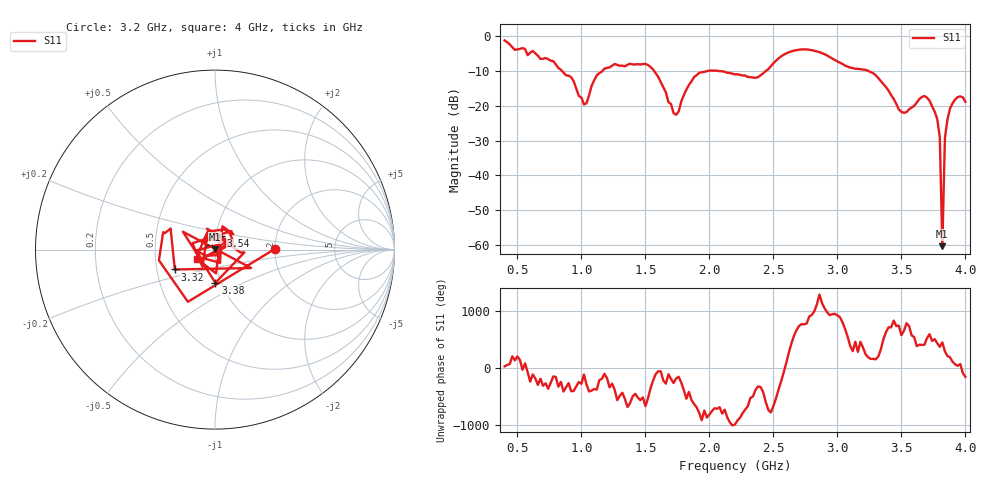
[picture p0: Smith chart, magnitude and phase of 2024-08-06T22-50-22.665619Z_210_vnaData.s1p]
!Created with skrf (http://scikit-rf.org).
# Hz S RI R 50.0
!freq ReS11 ImS11
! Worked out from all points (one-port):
!   181 points, 400 MHz to 4 GHz, reference 50 ohm
!   lowest |S11| = -60.4 dB at 3.82 GHz (marker M1), VSWR 1.00, Z = 50 + j0.0957 ohm
!   |S11| at or under -10 dB: 1.569 GHz to 1.986 GHz (417.4 MHz wide, 23.5 % of centre); 2.073 GHz to 2.441 GHz (367.9 MHz wide, 16.3 % of centre); 3.243 GHz to end of sweep (the widest 3 of 4)
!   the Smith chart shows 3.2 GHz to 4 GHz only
!   S11 on the Smith chart (normalised r, x): 3.2 GHz: 1.99, +0.01; 3.32 GHz: 0.62, -0.15; 3.38 GHz: 0.94, -0.36; 3.54 GHz: 1.06, +0.16; 4 GHz: 0.81, -0.09
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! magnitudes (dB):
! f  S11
! 400 MHz  -1.2
! 860 MHz  -10.4
! 920 MHz  -11.8
! 1.02 GHz  -19.6
! 1.12 GHz  -11.3
! 1.3 GHz  -8.5
! 1.54 GHz  -8.8
! 1.72 GHz  -22.1
! 1.76 GHz  -21.6
! 1.82 GHz  -15.4
! 1.92 GHz  -10.5
! 2.2 GHz  -11.0
! 2.38 GHz  -11.8
! 2.66 GHz  -4.1
! 3.1 GHz  -9.0
! 3.2 GHz  -9.6
! 3.32 GHz  -12.0
! 3.38 GHz  -14.6
! 3.54 GHz  -21.8
! 3.56 GHz  -21.0
! 3.68 GHz  -17.2
! 3.78 GHz  -23.8
! 3.8 GHz  -29.0
! 3.82 GHz  -60.4
! 3.84 GHz  -29.3
! 3.86 GHz  -23.9
! 3.92 GHz  -18.2
! 4 GHz  -18.9
